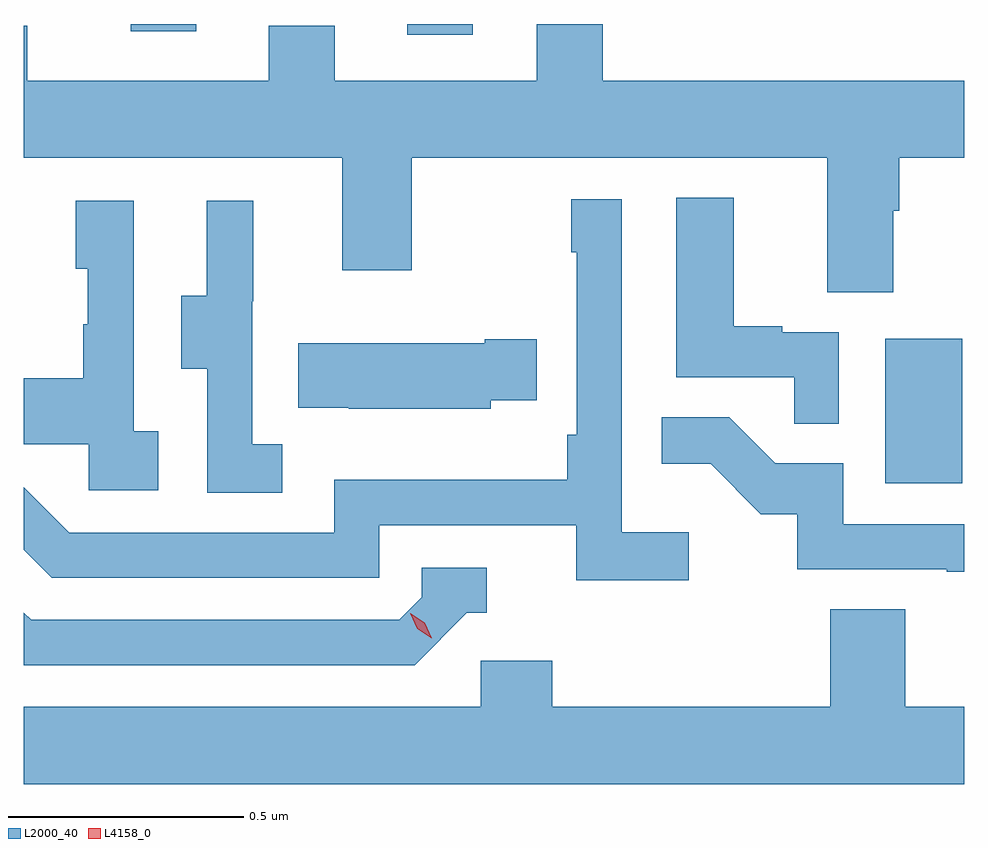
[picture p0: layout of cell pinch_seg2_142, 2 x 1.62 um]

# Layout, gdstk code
import gdstk
lib = gdstk.Library(unit=1e-6, precision=1e-09)
def R(c, l, rs):  # rectangles x0, y0, x1, y1
    for r in rs: c.add(gdstk.rectangle(r[:2], r[2:], *l))
def P(c, l, *ps):  # polygons
    for p in ps: c.add(gdstk.Polygon(p, *l))
L2000_40 = (2000, 40)
L4158_0 = (4158, 0)

pinch_seg2_142 = lib.new_cell('pinch_seg2_142')
R(pinch_seg2_142, L2000_40, [(1074.674,645.612,1074.838,645.919), (1073.657,646.566,1073.797,646.589), (1073.069,646.574,1073.209,646.589)])
P(pinch_seg2_142, L2000_40, [(1073.503,646.585),(1073.363,646.585),(1073.363,646.468),(1072.849,646.468),(1072.849,646.585),(1072.842,646.585),(1072.842,646.304),(1073.519,646.304),(1073.519,646.065),(1073.667,646.065),(1073.667,646.304),(1074.551,646.304),(1074.551,646.018),(1074.691,646.018),(1074.691,646.192),(1074.704,646.192),(1074.704,646.304),(1074.842,646.304),(1074.842,646.468),(1074.073,646.468),(1074.073,646.589),(1073.933,646.589),(1073.933,646.468),(1073.503,646.468)],
  [(1074.576,645.933),(1074.455,645.933),(1074.455,645.946),(1074.352,645.946),(1074.352,646.219),(1074.23,646.219),(1074.23,645.837),(1074.481,645.837),(1074.481,645.739),(1074.576,645.739)],
  [(1074.256,645.508),(1074.114,645.508),(1074.114,646.216),(1074.006,646.216),(1074.006,646.103),(1074.018,646.103),(1074.018,645.715),(1073.998,645.715),(1073.998,645.619),(1073.502,645.619),(1073.502,645.507),(1072.938,645.507),(1072.842,645.603),(1072.842,645.47),(1072.901,645.411),(1073.598,645.411),(1073.598,645.522),(1074.017,645.522),(1074.017,645.406),(1074.256,645.406)],
  [(1073.392,645.695),(1073.328,645.695),(1073.328,645.999),(1073.33,645.999),(1073.33,646.213),(1073.231,646.213),(1073.231,646.011),(1073.177,646.011),(1073.177,645.856),(1073.232,645.856),(1073.232,645.592),(1073.392,645.592)],
  [(1073.128,645.722),(1073.076,645.722),(1073.076,646.213),(1072.952,646.213),(1072.952,646.068),(1072.978,646.068),(1072.978,645.95),(1072.968,645.95),(1072.968,645.835),(1072.842,645.835),(1072.842,645.695),(1072.98,645.695),(1072.98,645.597),(1073.128,645.597)],
  [(1073.835,645.788),(1073.933,645.788),(1073.933,645.918),(1073.822,645.918),(1073.822,645.91),(1073.425,645.91),(1073.425,645.773),(1073.533,645.773),(1073.533,645.77),(1073.835,645.77)],
  [(1074.842,645.525),(1074.585,645.525),(1074.585,645.654),(1074.44,645.654),(1074.342,645.752),(1074.199,645.752),(1074.199,645.653),(1074.303,645.653),(1074.41,645.546),(1074.487,645.546),(1074.487,645.429),(1074.805,645.429),(1074.805,645.424),(1074.842,645.424)],
  [(1073.784,645.336),(1073.827,645.336),(1073.827,645.432),(1073.688,645.432),(1073.688,645.369),(1073.64,645.321),(1072.857,645.321),(1072.842,645.336),(1072.842,645.225),(1073.673,645.225)],
  [(1074.842,645.136),(1074.717,645.136),(1074.717,645.344),(1074.557,645.344),(1074.557,645.136),(1073.966,645.136),(1073.966,645.234),(1073.814,645.234),(1073.814,645.136),(1072.842,645.136),(1072.842,644.972),(1074.842,644.972)])
P(pinch_seg2_142, L4158_0, [(1073.71,645.282),(1073.679,645.302),(1073.664,645.335),(1073.664,645.335),(1073.664,645.335),(1073.695,645.315),(1073.71,645.282),(1073.71,645.282)])

lib.write_gds('pinch_seg2_142.gds')
